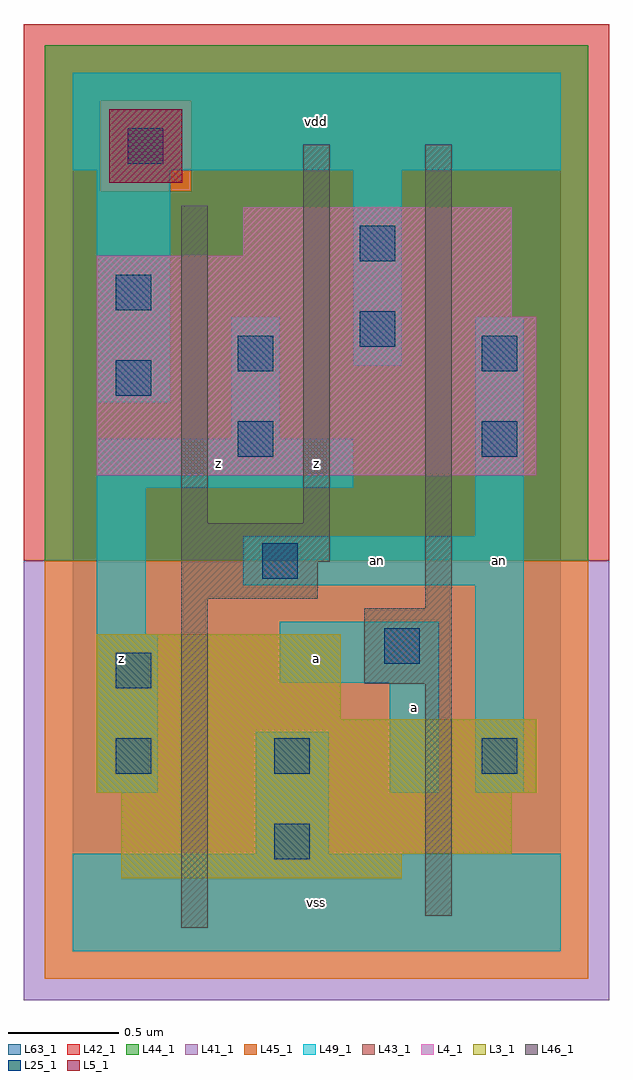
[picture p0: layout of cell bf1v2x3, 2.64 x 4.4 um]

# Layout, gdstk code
import gdstk
lib = gdstk.Library(unit=1e-6, precision=1e-09)
def R(c, l, rs):  # rectangles x0, y0, x1, y1
    for r in rs: c.add(gdstk.rectangle(r[:2], r[2:], *l))
L3_1 = (3, 1)
L4_1 = (4, 1)
L5_1 = (5, 1)
L25_1 = (25, 1)
L41_1 = (41, 1)
L42_1 = (42, 1)
L43_1 = (43, 1)
L44_1 = (44, 1)
L45_1 = (45, 1)
L46_1 = (46, 1)
L49_1 = (49, 1)
L63_1 = (63, 1)

bf1v2x3 = lib.new_cell('bf1v2x3')
R(bf1v2x3, L3_1, [(0.22,0.33,1.485,0.44), (0.22,0.44,1.98,0.715), (0.11,0.715,2.09,1.045), (0.11,1.045,1.21,1.43)])
R(bf1v2x3, L4_1, [(0.11,2.145,2.09,2.86), (0.11,2.86,1.98,3.135), (0.77,3.135,1.98,3.355)])
R(bf1v2x3, L5_1, [(0.165,3.465,0.495,3.795)])
R(bf1v2x3, L25_1, [(0.91,0.415,1.07,0.575), (0.195,0.8,0.355,0.96), (0.91,0.8,1.07,0.96), (1.845,0.8,2.005,0.96), (0.195,1.185,0.355,1.345), (1.405,1.295,1.565,1.455), (0.855,1.68,1.015,1.84), (0.745,2.23,0.905,2.39), (1.845,2.23,2.005,2.39), (0.195,2.505,0.355,2.665), (0.745,2.615,0.905,2.775), (1.845,2.615,2.005,2.775), (1.295,2.725,1.455,2.885), (0.195,2.89,0.355,3.05), (1.295,3.11,1.455,3.27), (0.25,3.55,0.41,3.71)])
R(bf1v2x3, L41_1, [(-0.22,-0.22,2.42,1.76)])
R(bf1v2x3, L42_1, [(-0.22,1.76,2.42,4.18)])
R(bf1v2x3, L43_1, [(0.22,0.33,1.485,0.44), (0.22,0.44,1.98,0.715), (0.11,0.715,2.09,1.045), (0.11,1.045,1.21,1.43), (0.11,2.145,2.09,2.86), (0.11,2.86,1.98,3.135), (0.77,3.135,1.98,3.355), (0.165,3.465,0.495,3.795)])
R(bf1v2x3, L44_1, [(-0.125,1.76,2.325,3.425), (-0.125,3.425,0.125,3.835), (0.535,3.425,2.325,3.835), (-0.125,3.835,2.325,4.085)])
R(bf1v2x3, L45_1, [(-0.125,-0.125,2.325,1.76), (0.125,3.425,0.535,3.835)])
R(bf1v2x3, L46_1, [(0.49,0.105,0.61,1.59), (1.59,0.16,1.71,1.205), (1.315,1.205,1.71,1.545), (1.59,1.545,1.71,3.635), (0.49,1.59,1.105,1.755), (0.49,1.755,1.16,1.93), (0.49,1.93,0.61,3.36), (1.04,1.93,1.16,3.635)])
R(bf1v2x3, L49_1, [(0,0,2.2,0.44), (0.825,0.44,1.155,0.99), (0.11,0.715,0.385,1.43), (1.43,0.715,1.65,1.21), (1.815,0.715,2.035,1.65), (0.935,1.21,1.65,1.485), (0.11,1.43,0.33,2.09), (0.77,1.65,2.035,1.87), (1.815,1.87,2.035,2.86), (0.11,2.09,1.265,2.31), (0.715,2.31,0.935,2.86), (0.11,2.475,0.44,3.52), (1.265,2.64,1.485,3.52), (0,3.52,2.2,3.96)])
R(bf1v2x3, L63_1, [(0,0,2.2,3.96)])
bf1v2x3.add(gdstk.Label('z', (0.22,1.32), layer=49, texttype=1))
bf1v2x3.add(gdstk.Label('z', (0.66,2.2), layer=49, texttype=1))
bf1v2x3.add(gdstk.Label('vss', (1.1,0.22), layer=49, texttype=1))
bf1v2x3.add(gdstk.Label('a', (1.54,1.1), layer=49, texttype=1))
bf1v2x3.add(gdstk.Label('a', (1.1,1.32), layer=49, texttype=1))
bf1v2x3.add(gdstk.Label('z', (1.1,2.2), layer=49, texttype=1))
bf1v2x3.add(gdstk.Label('vdd', (1.1,3.74), layer=49, texttype=1))
bf1v2x3.add(gdstk.Label('an', (1.375,1.76), layer=49, texttype=1))
bf1v2x3.add(gdstk.Label('an', (1.925,1.76), layer=49, texttype=1))

lib.write_gds('bf1v2x3.gds')
